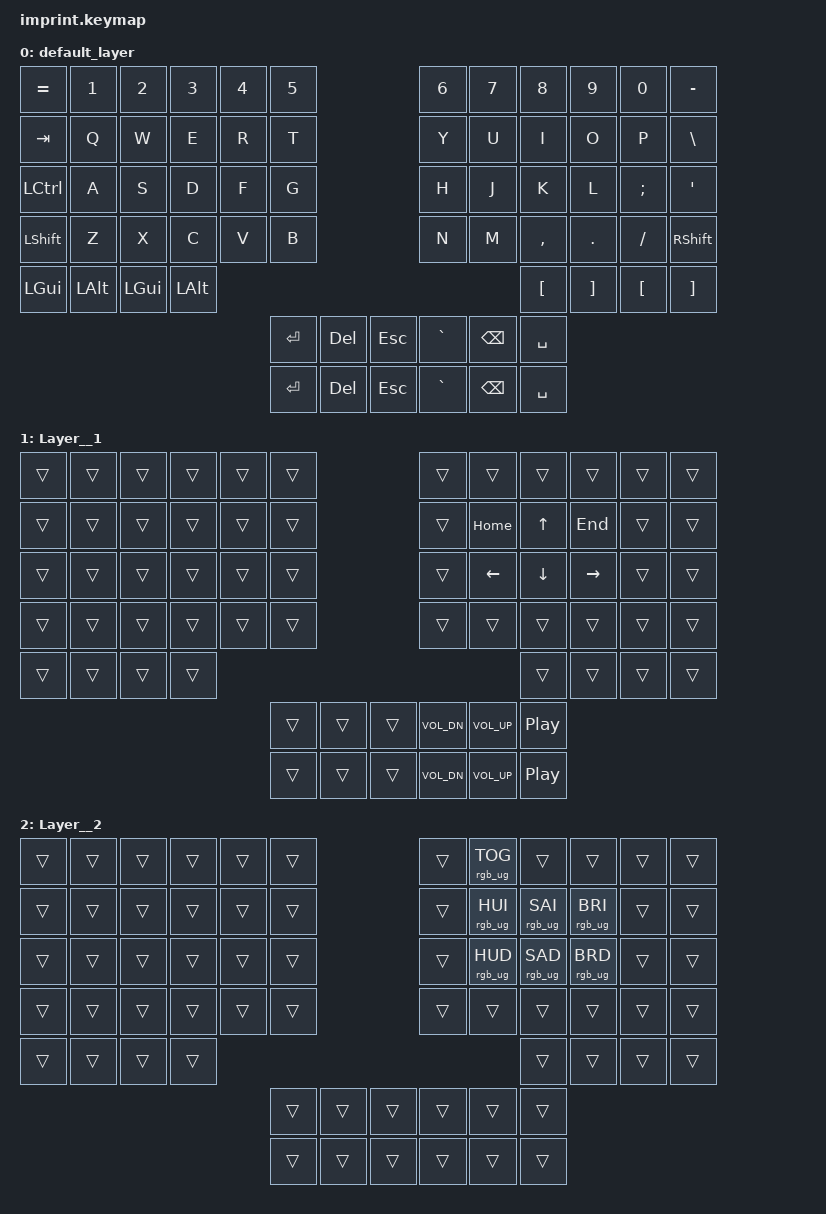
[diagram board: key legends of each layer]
#include <behaviors.dtsi>
#include <dt-bindings/zmk/bt.h>
#include <dt-bindings/zmk/keys.h>
#include <dt-bindings/zmk/outputs.h>
#include <dt-bindings/zmk/rgb.h>
#include <dt-bindings/zmk/ext_power.h>

/ {
    chosen { zmk,matrix-transform = &dactyl_manuform_number_row_4; 
    };

    keymap {
        compatible = "zmk,keymap";

        default_layer {
            bindings = <
 &kp EQUAL    &kp N1    &kp N2    &kp N3    &kp N4  &kp N5                                         &kp N6      &kp N7     &kp N8    &kp N9   &kp N0   &kp MINUS
 &kp TAB    &kp Q     &kp W     &kp E     &kp R   &kp T                                          &kp Y       &kp U      &kp I     &kp O    &kp P    &kp BSLH
 &kp LCTRL  &kp A     &kp S     &kp D     &kp F   &kp G                                          &kp H       &kp J      &kp K     &kp L    &kp SEMI &kp SQT
 &kp LSHFT  &kp Z     &kp X     &kp C     &kp V   &kp B                                          &kp N       &kp M      &kp COMMA &kp DOT  &kp FSLH &kp RSHFT
 &kp LGUI  &kp LALT     &kp LGUI  &kp LALT                                                                                &kp LBKT  &kp RBKT &kp LBKT  &kp RBKT
                                                  &kp RET &kp DEL  &kp ESC    &kp GRAVE &kp BSPC &kp SPACE
                                                  &kp RET &kp DEL  &kp ESC    &kp GRAVE &kp BSPC &kp SPACE
            >;
        };

        Layer__1 {
            bindings = <
 &trans  &trans  &trans  &trans  &trans  &trans                                     &trans  &trans   &trans   &trans    &trans  &trans
 &trans  &trans  &trans  &trans  &trans  &trans                                     &trans  &kp HOME &kp UP   &kp END   &trans  &trans
 &trans  &trans  &trans  &trans  &trans  &trans                                     &trans  &kp LEFT &kp DOWN &kp RIGHT &trans  &trans
 &trans  &trans  &trans  &trans  &trans  &trans                                     &trans  &trans   &trans   &trans    &trans  &trans
 &trans  &trans  &trans  &trans                                                                      &trans   &trans    &trans  &trans
                                      &trans  &trans &trans       &kp C_VOL_DN &kp C_VOL_UP &kp C_PP
                                      &trans  &trans &trans       &kp C_VOL_DN &kp C_VOL_UP &kp C_PP
            >;
        };

        Layer__2 {
            bindings = <
 &trans  &trans  &trans  &trans  &trans  &trans                                     &trans  &rgb_ug RGB_TOG  &trans  &trans  &trans  &trans
 &trans  &trans  &trans  &trans  &trans  &trans                                     &trans  &rgb_ug RGB_HUI  &rgb_ug RGB_SAI  &rgb_ug RGB_BRI  &trans  &trans
 &trans  &trans  &trans  &trans  &trans  &trans                                     &trans  &rgb_ug RGB_HUD  &rgb_ug RGB_SAD  &rgb_ug RGB_BRD  &trans  &trans
 &trans  &trans  &trans  &trans  &trans  &trans                                     &trans  &trans  &trans  &trans  &trans  &trans
 &trans  &trans  &trans  &trans                                                                     &trans  &trans  &trans  &trans
                                         &trans  &trans &trans        &trans &trans &trans
                                         &trans  &trans &trans        &trans &trans &trans
            >;
        };
    };
};
